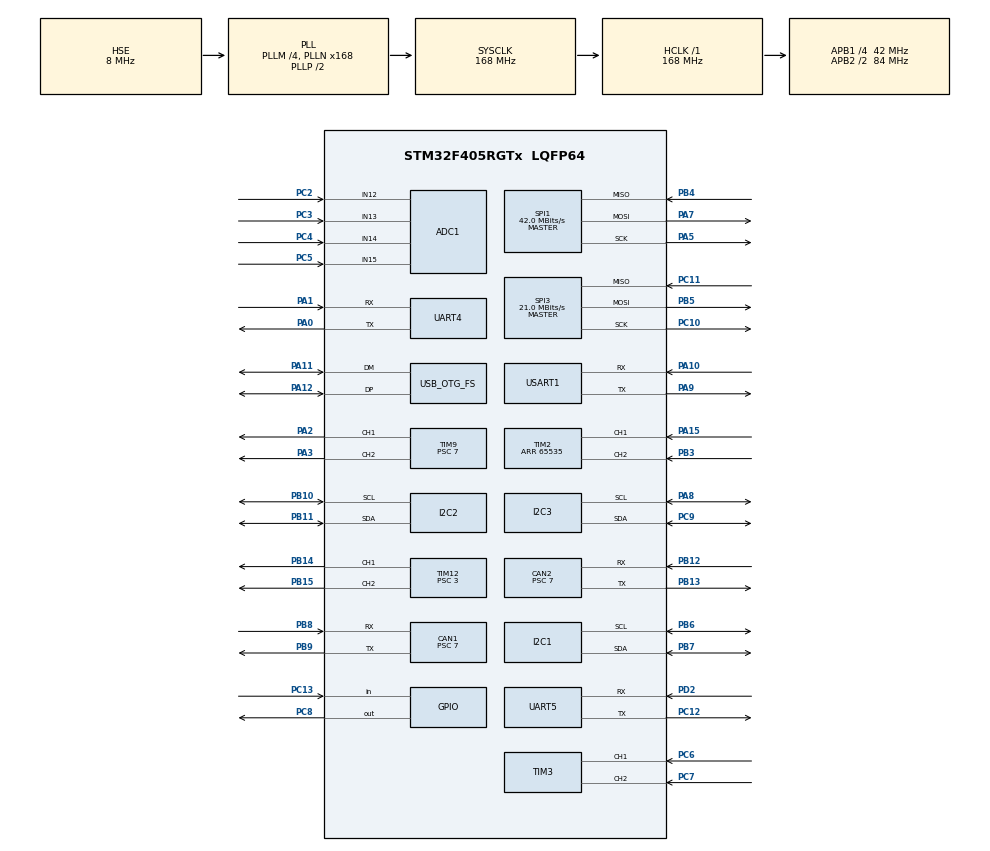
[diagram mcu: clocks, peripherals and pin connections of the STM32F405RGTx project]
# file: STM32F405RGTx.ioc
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ADC1.Channel-0\#ChannelRegularConversion=ADC_CHANNEL_12
ADC1.Channel-5\#ChannelRegularConversion=ADC_CHANNEL_13
ADC1.Channel-6\#ChannelRegularConversion=ADC_CHANNEL_14
ADC1.Channel-7\#ChannelRegularConversion=ADC_CHANNEL_15
ADC1.Channel-8\#ChannelRegularConversion=ADC_CHANNEL_TEMPSENSOR
ADC1.Channel-9\#ChannelRegularConversion=ADC_CHANNEL_VREFINT
ADC1.ContinuousConvMode=ENABLE
ADC1.InjNumberOfConversion=0
ADC1.NbrOfConversion=6
ADC1.NbrOfConversionFlag=1
ADC1.Rank-0\#ChannelRegularConversion=1
ADC1.Rank-5\#ChannelRegularConversion=2
ADC1.Rank-6\#ChannelRegularConversion=3
ADC1.Rank-7\#ChannelRegularConversion=4
ADC1.Rank-8\#ChannelRegularConversion=5
ADC1.Rank-9\#ChannelRegularConversion=6
ADC1.SamplingTime-0\#ChannelRegularConversion=ADC_SAMPLETIME_28CYCLES
ADC1.SamplingTime-5\#ChannelRegularConversion=ADC_SAMPLETIME_3CYCLES
ADC1.SamplingTime-6\#ChannelRegularConversion=ADC_SAMPLETIME_3CYCLES
ADC1.SamplingTime-7\#ChannelRegularConversion=ADC_SAMPLETIME_3CYCLES
ADC1.SamplingTime-8\#ChannelRegularConversion=ADC_SAMPLETIME_3CYCLES
ADC1.SamplingTime-9\#ChannelRegularConversion=ADC_SAMPLETIME_3CYCLES
ADC1.ScanConvMode=ENABLE
ADC1.master=1
CAN1.AWUM=ENABLE
CAN1.BS1=CAN_BS1_3TQ
CAN1.BS2=CAN_BS2_2TQ
CAN1.CalculateBaudRate=999999
CAN1.CalculateTimeBit=1000
CAN1.CalculateTimeQuantum=166.66666666666669
CAN1.Prescaler=7
CAN1.TXFP=ENABLE
CAN2.AWUM=ENABLE
CAN2.BS1=CAN_BS1_3TQ
CAN2.BS2=CAN_BS2_2TQ
CAN2.CalculateBaudRate=999999
CAN2.CalculateTimeBit=1000
CAN2.CalculateTimeQuantum=166.66666666666669
CAN2.Prescaler=7
CAN2.TXFP=DISABLE
Dma.ADC1.0.Direction=DMA_PERIPH_TO_MEMORY
Dma.ADC1.0.FIFOMode=DMA_FIFOMODE_DISABLE
Dma.ADC1.0.Instance=DMA2_Stream0
Dma.ADC1.0.MemDataAlignment=DMA_MDATAALIGN_HALFWORD
Dma.ADC1.0.MemInc=DMA_MINC_ENABLE
Dma.ADC1.0.Mode=DMA_CIRCULAR
Dma.ADC1.0.PeriphDataAlignment=DMA_PDATAALIGN_HALFWORD
Dma.ADC1.0.PeriphInc=DMA_PINC_DISABLE
Dma.ADC1.0.Priority=DMA_PRIORITY_LOW
Dma.Request0=ADC1
Dma.Request1=UART4_RX
Dma.Request2=UART4_TX
Dma.Request3=UART5_RX
Dma.Request4=UART5_TX
Dma.UART4_RX.1.Direction=DMA_PERIPH_TO_MEMORY
Dma.UART4_RX.1.FIFOMode=DMA_FIFOMODE_DISABLE
Dma.UART4_RX.1.Instance=DMA1_Stream2
Dma.UART4_RX.1.MemDataAlignment=DMA_MDATAALIGN_BYTE
Dma.UART4_RX.1.MemInc=DMA_MINC_ENABLE
Dma.UART4_RX.1.Mode=DMA_CIRCULAR
Dma.UART4_RX.1.PeriphDataAlignment=DMA_PDATAALIGN_BYTE
Dma.UART4_RX.1.PeriphInc=DMA_PINC_DISABLE
Dma.UART4_RX.1.Priority=DMA_PRIORITY_LOW
Dma.UART4_TX.2.Direction=DMA_MEMORY_TO_PERIPH
Dma.UART4_TX.2.FIFOMode=DMA_FIFOMODE_DISABLE
Dma.UART4_TX.2.Instance=DMA1_Stream4
Dma.UART4_TX.2.MemDataAlignment=DMA_MDATAALIGN_BYTE
Dma.UART4_TX.2.MemInc=DMA_MINC_ENABLE
Dma.UART4_TX.2.Mode=DMA_NORMAL
Dma.UART4_TX.2.PeriphDataAlignment=DMA_PDATAALIGN_BYTE
Dma.UART4_TX.2.PeriphInc=DMA_PINC_DISABLE
Dma.UART4_TX.2.Priority=DMA_PRIORITY_LOW
Dma.UART5_RX.3.Direction=DMA_PERIPH_TO_MEMORY
Dma.UART5_RX.3.FIFOMode=DMA_FIFOMODE_DISABLE
Dma.UART5_RX.3.Instance=DMA1_Stream0
Dma.UART5_RX.3.MemDataAlignment=DMA_MDATAALIGN_BYTE
Dma.UART5_RX.3.MemInc=DMA_MINC_ENABLE
Dma.UART5_RX.3.Mode=DMA_CIRCULAR
Dma.UART5_RX.3.PeriphDataAlignment=DMA_PDATAALIGN_BYTE
Dma.UART5_RX.3.PeriphInc=DMA_PINC_DISABLE
Dma.UART5_RX.3.Priority=DMA_PRIORITY_LOW
Dma.UART5_TX.4.Direction=DMA_MEMORY_TO_PERIPH
Dma.UART5_TX.4.FIFOMode=DMA_FIFOMODE_DISABLE
Dma.UART5_TX.4.Instance=DMA1_Stream7
Dma.UART5_TX.4.MemDataAlignment=DMA_MDATAALIGN_BYTE
Dma.UART5_TX.4.MemInc=DMA_MINC_ENABLE
Dma.UART5_TX.4.Mode=DMA_NORMAL
Dma.UART5_TX.4.PeriphDataAlignment=DMA_PDATAALIGN_BYTE
Dma.UART5_TX.4.PeriphInc=DMA_PINC_DISABLE
Dma.UART5_TX.4.Priority=DMA_PRIORITY_LOW
FREERTOS.BinarySemaphores01=myBinarySem01,Dynamic,NULL
FREERTOS.CountingSemaphores01=myCountingSem01,2,Dynamic,NULL
FREERTOS.Tasks01=defaultTask,24,128,StartDefaultTask,Default,NULL,Dynamic,NULL,NULL
FREERTOS.configUSE_NEWLIB_REENTRANT=1
FREERTOS.configUSE_PREEMPTION=1
I2C1.I2C_Mode=I2C_Fast
I2C2.I2C_Mode=I2C_Fast
I2C3.I2C_Mode=I2C_Fast
Mcu.Family=STM32F4
Mcu.Name=STM32F405RGTx
Mcu.Package=LQFP64
NVIC.ADC_IRQn=true\:5\:0\:false\:false\:true\:true\:true\:true\:true
NVIC.CAN1_RX0_IRQn=true\:5\:0\:false\:false\:true\:true\:true\:true\:true
NVIC.CAN1_RX1_IRQn=true\:5\:0\:false\:false\:true\:true\:true\:true\:true
NVIC.CAN1_SCE_IRQn=true\:5\:0\:false\:false\:true\:true\:true\:true\:true
NVIC.CAN1_TX_IRQn=true\:5\:0\:false\:false\:true\:true\:true\:true\:true
NVIC.CAN2_RX0_IRQn=true\:5\:0\:false\:false\:true\:true\:true\:true\:true
NVIC.CAN2_RX1_IRQn=true\:5\:0\:false\:false\:true\:true\:true\:true\:true
NVIC.CAN2_SCE_IRQn=true\:5\:0\:false\:false\:true\:true\:true\:true\:true
NVIC.CAN2_TX_IRQn=true\:5\:0\:false\:false\:true\:true\:true\:true\:true
NVIC.DMA1_Stream0_IRQn=true\:6\:0\:true\:false\:true\:true\:false\:true\:true
NVIC.DMA1_Stream2_IRQn=true\:6\:0\:true\:false\:true\:true\:false\:true\:true
NVIC.DMA1_Stream4_IRQn=true\:6\:0\:true\:false\:true\:true\:false\:true\:true
NVIC.DMA1_Stream7_IRQn=true\:6\:0\:true\:false\:true\:true\:false\:true\:true
NVIC.DMA2_Stream0_IRQn=true\:5\:0\:false\:false\:true\:true\:false\:true\:true
NVIC.OTG_FS_IRQn=true\:5\:0\:false\:false\:true\:true\:false\:true\:true
NVIC.PriorityGroup=NVIC_PRIORITYGROUP_4
NVIC.SPI3_IRQn=true\:5\:0\:false\:false\:true\:true\:true\:true\:true
NVIC.TIM1_TRG_COM_TIM11_IRQn=true\:5\:0\:false\:false\:true\:true\:true\:true\:true
NVIC.TIM1_UP_TIM10_IRQn=true\:5\:0\:false\:false\:true\:true\:true\:true\:true
NVIC.TIM6_DAC_IRQn=true\:15\:0\:false\:false\:true\:false\:false\:true\:true
NVIC.TIM7_IRQn=true\:5\:0\:false\:false\:true\:true\:true\:true\:true
NVIC.TIM8_TRG_COM_TIM14_IRQn=true\:5\:0\:false\:false\:true\:true\:true\:true\:true
NVIC.TIM8_UP_TIM13_IRQn=true\:5\:0\:false\:false\:true\:true\:true\:true\:true
NVIC.TimeBase=TIM6_DAC_IRQn
NVIC.TimeBaseIP=TIM6
NVIC.UART4_IRQn=true\:5\:0\:false\:false\:true\:true\:true\:true\:true
NVIC.UART5_IRQn=true\:5\:0\:false\:false\:true\:true\:true\:true\:true
PA0-WKUP.Mode=Asynchronous
PA0-WKUP.Signal=UART4_TX
PA1.Mode=Asynchronous
PA1.Signal=UART4_RX
PA10.Mode=Asynchronous
PA10.Signal=USART1_RX
PA11.Mode=Device_Only
PA11.Signal=USB_OTG_FS_DM
PA12.Mode=Device_Only
PA12.Signal=USB_OTG_FS_DP
PA15.Signal=S_TIM2_CH1_ETR
PA2.Signal=S_TIM9_CH1
PA3.Signal=S_TIM9_CH2
PA5.Mode=Full_Duplex_Master
PA5.Signal=SPI1_SCK
PA7.Mode=Full_Duplex_Master
PA7.Signal=SPI1_MOSI
PA8.Mode=I2C
PA8.Signal=I2C3_SCL
PA9.Mode=Asynchronous
PA9.Signal=USART1_TX
PB10.Mode=I2C
PB10.Signal=I2C2_SCL
PB11.Mode=I2C
PB11.Signal=I2C2_SDA
PB12.Mode=CAN_Activate
PB12.Signal=CAN2_RX
PB13.Mode=CAN_Activate
PB13.Signal=CAN2_TX
PB14.Signal=S_TIM12_CH1
PB15.Signal=S_TIM12_CH2
PB3.Signal=S_TIM2_CH2
PB4.Mode=Full_Duplex_Master
PB4.Signal=SPI1_MISO
PB5.Mode=Full_Duplex_Master
PB5.Signal=SPI3_MOSI
PB6.Mode=I2C
PB6.Signal=I2C1_SCL
PB7.Mode=I2C
PB7.Signal=I2C1_SDA
PB8.Mode=CAN_Activate
PB8.Signal=CAN1_RX
PB9.Mode=CAN_Activate
PB9.Signal=CAN1_TX
PC10.Mode=Full_Duplex_Master
PC10.Signal=SPI3_SCK
PC11.Mode=Full_Duplex_Master
PC11.Signal=SPI3_MISO
PC12.Mode=Asynchronous
PC12.Signal=UART5_TX
PC13-ANTI_TAMP.Signal=GPIO_Input
PC2.Signal=ADCx_IN12
PC3.Signal=ADCx_IN13
PC4.Signal=ADCx_IN14
PC5.Signal=ADCx_IN15
PC6.Signal=S_TIM3_CH1
PC7.Signal=S_TIM3_CH2
PC8.GPIO_Speed=GPIO_SPEED_FREQ_HIGH
PC8.Signal=GPIO_Output
PC9.Mode=I2C
PC9.Signal=I2C3_SDA
PD2.Mode=Asynchronous
PD2.Signal=UART5_RX
PH0-OSC_IN.Mode=HSE-External-Oscillator
PH0-OSC_IN.Signal=RCC_OSC_IN
PH1-OSC_OUT.Mode=HSE-External-Oscillator
PH1-OSC_OUT.Signal=RCC_OSC_OUT
ProjectManager.HeapSize=0x200
ProjectManager.StackSize=0x400
ProjectManager.TargetToolchain=STM32CubeIDE
RCC.48MHZClocksFreq_Value=48000000
RCC.AHBFreq_Value=168000000
RCC.APB1CLKDivider=RCC_HCLK_DIV4
RCC.APB1Freq_Value=42000000
RCC.APB1TimFreq_Value=84000000
RCC.APB2CLKDivider=RCC_HCLK_DIV2
RCC.APB2Freq_Value=84000000
RCC.APB2TimFreq_Value=168000000
RCC.CortexFreq_Value=168000000
RCC.HCLKFreq_Value=168000000
RCC.HSE_VALUE=8000000
RCC.HSI_VALUE=16000000
RCC.LSE_VALUE=32768
RCC.PLLM=4
RCC.PLLN=168
RCC.PLLQ=7
RCC.SYSCLKFreq_VALUE=168000000
RCC.SYSCLKSource=RCC_SYSCLKSOURCE_PLLCLK
RCC.VCOOutputFreq_Value=336000000
SH.ADCx_IN12.0=ADC1_IN12,IN12
SH.ADCx_IN13.0=ADC1_IN13,IN13
SH.ADCx_IN14.0=ADC1_IN14,IN14
SH.ADCx_IN15.0=ADC1_IN15,IN15
SH.S_TIM12_CH1.0=TIM12_CH1,PWM Generation1 CH1
SH.S_TIM12_CH2.0=TIM12_CH2,PWM Generation2 CH2
SH.S_TIM2_CH1_ETR.0=TIM2_CH1,Encoder_Interface
SH.S_TIM2_CH2.0=TIM2_CH2,Encoder_Interface
SH.S_TIM3_CH1.0=TIM3_CH1,Encoder_Interface
SH.S_TIM3_CH2.0=TIM3_CH2,Encoder_Interface
SH.S_TIM9_CH1.0=TIM9_CH1,PWM Generation1 CH1
SH.S_TIM9_CH2.0=TIM9_CH2,PWM Generation2 CH2
SPI1.CalculateBaudRate=42.0 MBits/s
SPI1.Direction=SPI_DIRECTION_2LINES
SPI1.Mode=SPI_MODE_MASTER
SPI1.VirtualType=VM_MASTER
SPI3.CalculateBaudRate=21.0 MBits/s
SPI3.Direction=SPI_DIRECTION_2LINES
SPI3.Mode=SPI_MODE_MASTER
SPI3.VirtualType=VM_MASTER
TIM10.AutoReloadPreload=TIM_AUTORELOAD_PRELOAD_ENABLE
TIM10.Period=9999
TIM10.Prescaler=167
TIM11.Period=9999
TIM11.Prescaler=167
TIM12.Channel-PWM\ Generation1\ CH1=TIM_CHANNEL_1
TIM12.Channel-PWM\ Generation2\ CH2=TIM_CHANNEL_2
TIM12.Period=999
TIM12.Prescaler=3
TIM13.Period=9999
TIM13.Prescaler=83
TIM14.Period=9999
TIM14.Prescaler=83
TIM2.EncoderMode=TIM_ENCODERMODE_TI2
TIM2.IC1Filter=4
TIM2.IC2Filter=4
TIM2.Period=65535
TIM3.EncoderMode=TIM_ENCODERMODE_TI2
TIM3.IC1Filter=4
TIM3.IC2Filter=4
TIM7.AutoReloadPreload=TIM_AUTORELOAD_PRELOAD_ENABLE
TIM7.Period=9999
TIM7.Prescaler=83
TIM9.Channel-PWM\ Generation1\ CH1=TIM_CHANNEL_1
TIM9.Channel-PWM\ Generation2\ CH2=TIM_CHANNEL_2
TIM9.Period=999
TIM9.Prescaler=7
UART4.VirtualMode=Asynchronous
UART5.VirtualMode=Asynchronous
USART1.VirtualMode=VM_ASYNC
USB_DEVICE.CLASS_NAME_FS=CDC
USB_DEVICE.VirtualMode-CDC_FS=Cdc
USB_DEVICE.VirtualModeFS=Cdc_FS
USB_OTG_FS.VirtualMode=Device_Only
VP_ADC1_TempSens_Input.Mode=IN-TempSens
VP_ADC1_Vref_Input.Mode=IN-Vrefint
VP_FREERTOS_VS_CMSIS_V2.Mode=CMSIS_V2
VP_SYS_VS_tim6.Mode=TIM6
VP_TIM10_VS_ClockSourceINT.Mode=Enable_Timer
VP_TIM11_VS_ClockSourceINT.Mode=Enable_Timer
VP_TIM13_VS_ClockSourceINT.Mode=Enable_Timer
VP_TIM14_VS_ClockSourceINT.Mode=Enable_Timer
VP_TIM7_VS_ClockSourceINT.Mode=Enable_Timer
VP_USB_DEVICE_VS_USB_DEVICE_CDC_FS.Mode=CDC_FS
board=custom

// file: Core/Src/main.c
/* USER CODE BEGIN Header */
/**
  ******************************************************************************
  * @file           : main.c
  * @brief          : Main program body
  ******************************************************************************
  * @attention
  *
  * Copyright (c) 2024 STMicroelectronics.
  * All rights reserved.
  *
  * This software is licensed under terms that can be found in the LICENSE file
  * in the root directory of this software component.
  * If no LICENSE file comes with this software, it is provided AS-IS.
  *
  ******************************************************************************
  */
/* USER CODE END Header */
#include "main.h"
#include "cmsis_os.h"
#include "usb_device.h"

/* USER CODE BEGIN Includes */
#include "common_inc.h"
#include "communication/communication.hpp"
/* USER CODE END Includes */

/* USER CODE BEGIN PD */
// List of semaphores
osSemaphoreId sem_usb_irq;
osSemaphoreId sem_uart4_dma;
osSemaphoreId sem_uart5_dma;
osSemaphoreId sem_usb_rx;
osSemaphoreId sem_usb_tx;
osSemaphoreId sem_can1_tx;
osSemaphoreId sem_can2_tx;
/* USER CODE END PD */

 ADC_HandleTypeDef hadc1;
DMA_HandleTypeDef hdma_adc1;

CAN_HandleTypeDef hcan1;
CAN_HandleTypeDef hcan2;

I2C_HandleTypeDef hi2c1;
I2C_HandleTypeDef hi2c2;
I2C_HandleTypeDef hi2c3;

SPI_HandleTypeDef hspi1;
SPI_HandleTypeDef hspi3;

TIM_HandleTypeDef htim2;
TIM_HandleTypeDef htim3;
TIM_HandleTypeDef htim7;
TIM_HandleTypeDef htim9;
TIM_HandleTypeDef htim10;
TIM_HandleTypeDef htim11;
TIM_HandleTypeDef htim12;
TIM_HandleTypeDef htim13;
TIM_HandleTypeDef htim14;

UART_HandleTypeDef huart4;
UART_HandleTypeDef huart5;
UART_HandleTypeDef huart1;
DMA_HandleTypeDef hdma_uart4_rx;
DMA_HandleTypeDef hdma_uart4_tx;
DMA_HandleTypeDef hdma_uart5_rx;
DMA_HandleTypeDef hdma_uart5_tx;

/* Definitions for defaultTask */
osThreadId_t defaultTaskHandle;
const osThreadAttr_t defaultTask_attributes = {
  .name = "defaultTask",
  .stack_size = 128 * 4,
  .priority = (osPriority_t) osPriorityNormal,
};
/* Definitions for myBinarySem01 */
osSemaphoreId_t myBinarySem01Handle;
const osSemaphoreAttr_t myBinarySem01_attributes = {
  .name = "myBinarySem01"
};
/* Definitions for myCountingSem01 */
osSemaphoreId_t myCountingSem01Handle;
const osSemaphoreAttr_t myCountingSem01_attributes = {
  .name = "myCountingSem01"
};
/* USER CODE BEGIN PV */
uint64_t serialNumber;
char serialNumberStr[13];
__attribute__((section(".ccmram"))) uint8_t ucHeap[configTOTAL_HEAP_SIZE];
/* USER CODE END PV */

void SystemClock_Config(void);
static void MX_GPIO_Init(void);
static void MX_CAN1_Init(void);
static void MX_CAN2_Init(void);
static void MX_I2C1_Init(void);
static void MX_DMA_Init(void);
static void MX_I2C3_Init(void);
static void MX_ADC1_Init(void);
static void MX_SPI1_Init(void);
static void MX_SPI3_Init(void);
static void MX_I2C2_Init(void);
static void MX_UART4_Init(void);
static void MX_UART5_Init(void);
static void MX_USART1_UART_Init(void);
static void MX_TIM2_Init(void);
static void MX_TIM3_Init(void);
static void MX_TIM7_Init(void);
static void MX_TIM9_Init(void);
static void MX_TIM10_Init(void);
static void MX_TIM11_Init(void);
static void MX_TIM12_Init(void);
static void MX_TIM13_Init(void);
static void MX_TIM14_Init(void);
void StartDefaultTask(void *argument);

/* USER CODE BEGIN PFP */
extern void MX_USB_DEVICE_Init(void);
/* USER CODE END PFP */

int main(void)
{
  /* USER CODE BEGIN 1 */
  // This procedure of building a USB serial number should be identical
  // to the way the STM's built-in USB bootloader does it. This means
  // that the device will have the same serial number in normal and DFU mode.
  uint32_t uuid0 = *(uint32_t *) (UID_BASE + 0);
  uint32_t uuid1 = *(uint32_t *) (UID_BASE + 4);
  uint32_t uuid2 = *(uint32_t *) (UID_BASE + 8);
  uint32_t uuid_mixed_part = uuid0 + uuid2;
  serialNumber = ((uint64_t) uuid_mixed_part << 16) | (uint64_t) (uuid1 >> 16);

  uint64_t val = serialNumber;
  for (size_t i = 0; i < 12; ++i)
  {
      serialNumberStr[i] = "0123456789ABCDEF"[(val >> (48 - 4)) & 0xf];
      val <<= 4;
  }
  serialNumberStr[12] = 0;
  /* USER CODE END 1 */

  /* MCU Configuration--------------------------------------------------------*/

  /* Reset of all peripherals, Initializes the Flash interface and the Systick. */
  HAL_Init();

  /* Configure the system clock */
  SystemClock_Config();

  /* Initialize all configured peripherals */
  MX_GPIO_Init();
  MX_CAN1_Init();
  MX_CAN2_Init();
  MX_I2C1_Init();
  MX_DMA_Init();
  MX_I2C3_Init();
  MX_ADC1_Init();
  MX_SPI1_Init();
  MX_SPI3_Init();
  MX_I2C2_Init();
  MX_UART4_Init();
  MX_UART5_Init();
  MX_USART1_UART_Init();
  MX_TIM2_Init();
  MX_TIM3_Init();
  MX_TIM7_Init();
  MX_TIM9_Init();
  MX_TIM10_Init();
  MX_TIM11_Init();
  MX_TIM12_Init();
  MX_TIM13_Init();
  MX_TIM14_Init();

  /* Init scheduler */
  osKernelInitialize();

  /* Create the semaphores(s) */
  /* creation of myBinarySem01 */
  myBinarySem01Handle = osSemaphoreNew(1, 1, &myBinarySem01_attributes);

  /* creation of myCountingSem01 */
  myCountingSem01Handle = osSemaphoreNew(2, 2, &myCountingSem01_attributes);

  /* USER CODE BEGIN RTOS_SEMAPHORES */
  // Init usb irq binary semaphore, and start with no tokens by removing the starting one.
  osSemaphoreDef(sem_usb_irq);
  sem_usb_irq = osSemaphoreNew(1, 0, osSemaphore(sem_usb_irq));

  // Create a semaphore for UART DMA and remove a token
  osSemaphoreDef(sem_uart4_dma);
  sem_uart4_dma = osSemaphoreNew(1, 1, osSemaphore(sem_uart4_dma));
  osSemaphoreDef(sem_uart5_dma);
  sem_uart5_dma = osSemaphoreNew(1, 1, osSemaphore(sem_uart5_dma));

  // Create a semaphore for USB RX, and start with no tokens by removing the starting one.
  osSemaphoreDef(sem_usb_rx);
  sem_usb_rx = osSemaphoreNew(1, 0, osSemaphore(sem_usb_rx));

  // Create a semaphore for USB TX
  osSemaphoreDef(sem_usb_tx);
  sem_usb_tx = osSemaphoreNew(1, 1, osSemaphore(sem_usb_tx));

  // Create a semaphore for CAN TX
  osSemaphoreDef(sem_can1_tx);
  sem_can1_tx = osSemaphoreNew(1, 1, osSemaphore(sem_can1_tx));
  osSemaphoreDef(sem_can2_tx);
  sem_can2_tx = osSemaphoreNew(1, 1, osSemaphore(sem_can2_tx));
  /* USER CODE END RTOS_SEMAPHORES */

  /* Create the thread(s) */
  /* creation of defaultTask */
  defaultTaskHandle = osThreadNew(StartDefaultTask, NULL, &defaultTask_attributes);

  /* Start scheduler */
  osKernelStart();

  /* We should never get here as control is now taken by the scheduler */
  /* Infinite loop */
  while (1)
  {

  }
}

void SystemClock_Config(void)
{
  RCC_OscInitTypeDef RCC_OscInitStruct = {0};
  RCC_ClkInitTypeDef RCC_ClkInitStruct = {0};

  /** Configure the main internal regulator output voltage
  */
  __HAL_RCC_PWR_CLK_ENABLE();
  __HAL_PWR_VOLTAGESCALING_CONFIG(PWR_REGULATOR_VOLTAGE_SCALE1);

  /** Initializes the RCC Oscillators according to the specified parameters
  * in the RCC_OscInitTypeDef structure.
  */
  RCC_OscInitStruct.OscillatorType = RCC_OSCILLATORTYPE_HSE;
  RCC_OscInitStruct.HSEState = RCC_HSE_ON;
  RCC_OscInitStruct.PLL.PLLState = RCC_PLL_ON;
  RCC_OscInitStruct.PLL.PLLSource = RCC_PLLSOURCE_HSE;
  RCC_OscInitStruct.PLL.PLLM = 4;
  RCC_OscInitStruct.PLL.PLLN = 168;
  RCC_OscInitStruct.PLL.PLLP = RCC_PLLP_DIV2;
  RCC_OscInitStruct.PLL.PLLQ = 7;
  if (HAL_RCC_OscConfig(&RCC_OscInitStruct) != HAL_OK)
  {
    Error_Handler();
  }

  /** Initializes the CPU, AHB and APB buses clocks
  */
  RCC_ClkInitStruct.ClockType = RCC_CLOCKTYPE_HCLK|RCC_CLOCKTYPE_SYSCLK
                              |RCC_CLOCKTYPE_PCLK1|RCC_CLOCKTYPE_PCLK2;
  RCC_ClkInitStruct.SYSCLKSource = RCC_SYSCLKSOURCE_PLLCLK;
  RCC_ClkInitStruct.AHBCLKDivider = RCC_SYSCLK_DIV1;
  RCC_ClkInitStruct.APB1CLKDivider = RCC_HCLK_DIV4;
  RCC_ClkInitStruct.APB2CLKDivider = RCC_HCLK_DIV2;

  if (HAL_RCC_ClockConfig(&RCC_ClkInitStruct, FLASH_LATENCY_5) != HAL_OK)
  {
    Error_Handler();
  }
}

static void MX_ADC1_Init(void)
{

  ADC_ChannelConfTypeDef sConfig = {0};

  /** Configure the global features of the ADC (Clock, Resolution, Data Alignment and number of conversion)
  */
  hadc1.Instance = ADC1;
  hadc1.Init.ClockPrescaler = ADC_CLOCK_SYNC_PCLK_DIV4;
  hadc1.Init.Resolution = ADC_RESOLUTION_12B;
  hadc1.Init.ScanConvMode = ENABLE;
  hadc1.Init.ContinuousConvMode = ENABLE;
  hadc1.Init.DiscontinuousConvMode = DISABLE;
  hadc1.Init.ExternalTrigConvEdge = ADC_EXTERNALTRIGCONVEDGE_NONE;
  hadc1.Init.ExternalTrigConv = ADC_SOFTWARE_START;
  hadc1.Init.DataAlign = ADC_DATAALIGN_RIGHT;
  hadc1.Init.NbrOfConversion = 6;
  hadc1.Init.DMAContinuousRequests = DISABLE;
  hadc1.Init.EOCSelection = ADC_EOC_SINGLE_CONV;
  if (HAL_ADC_Init(&hadc1) != HAL_OK)
  {
    Error_Handler();
  }

  /** Configure for the selected ADC regular channel its corresponding rank in the sequencer and its sample time.
  */
  sConfig.Channel = ADC_CHANNEL_12;
  sConfig.Rank = 1;
  sConfig.SamplingTime = ADC_SAMPLETIME_28CYCLES;
  if (HAL_ADC_ConfigChannel(&hadc1, &sConfig) != HAL_OK)
  {
    Error_Handler();
  }

  /** Configure for the selected ADC regular channel its corresponding rank in the sequencer and its sample time.
  */
  sConfig.Channel = ADC_CHANNEL_13;
  sConfig.Rank = 2;
  sConfig.SamplingTime = ADC_SAMPLETIME_3CYCLES;
  if (HAL_ADC_ConfigChannel(&hadc1, &sConfig) != HAL_OK)
  {
    Error_Handler();
  }

  /** Configure for the selected ADC regular channel its corresponding rank in the sequencer and its sample time.
  */
  sConfig.Channel = ADC_CHANNEL_14;
  sConfig.Rank = 3;
  if (HAL_ADC_ConfigChannel(&hadc1, &sConfig) != HAL_OK)
  {
    Error_Handler();
  }

  /** Configure for the selected ADC regular channel its corresponding rank in the sequencer and its sample time.
  */
  sConfig.Channel = ADC_CHANNEL_15;
  sConfig.Rank = 4;
  if (HAL_ADC_ConfigChannel(&hadc1, &sConfig) != HAL_OK)
  {
    Error_Handler();
  }

  /** Configure for the selected ADC regular channel its corresponding rank in the sequencer and its sample time.
  */
  sConfig.Channel = ADC_CHANNEL_TEMPSENSOR;
  sConfig.Rank = 5;
  if (HAL_ADC_ConfigChannel(&hadc1, &sConfig) != HAL_OK)
  {
    Error_Handler();
  }

  /** Configure for the selected ADC regular channel its corresponding rank in the sequencer and its sample time.
  */
  sConfig.Channel = ADC_CHANNEL_VREFINT;
  sConfig.Rank = 6;
  if (HAL_ADC_ConfigChannel(&hadc1, &sConfig) != HAL_OK)
  {
    Error_Handler();
  }

}

static void MX_CAN1_Init(void)
{

  hcan1.Instance = CAN1;
  hcan1.Init.Prescaler = 7;
  hcan1.Init.Mode = CAN_MODE_NORMAL;
  hcan1.Init.SyncJumpWidth = CAN_SJW_1TQ;
  hcan1.Init.TimeSeg1 = CAN_BS1_3TQ;
  hcan1.Init.TimeSeg2 = CAN_BS2_2TQ;
  hcan1.Init.TimeTriggeredMode = DISABLE;
  hcan1.Init.AutoBusOff = DISABLE;
  hcan1.Init.AutoWakeUp = ENABLE;
  hcan1.Init.AutoRetransmission = DISABLE;
  hcan1.Init.ReceiveFifoLocked = DISABLE;
  hcan1.Init.TransmitFifoPriority = ENABLE;
  if (HAL_CAN_Init(&hcan1) != HAL_OK)
  {
    Error_Handler();
  }

}

static void MX_CAN2_Init(void)
{

  hcan2.Instance = CAN2;
  hcan2.Init.Prescaler = 7;
  hcan2.Init.Mode = CAN_MODE_NORMAL;
  hcan2.Init.SyncJumpWidth = CAN_SJW_1TQ;
  hcan2.Init.TimeSeg1 = CAN_BS1_3TQ;
  hcan2.Init.TimeSeg2 = CAN_BS2_2TQ;
  hcan2.Init.TimeTriggeredMode = DISABLE;
  hcan2.Init.AutoBusOff = DISABLE;
  hcan2.Init.AutoWakeUp = ENABLE;
  hcan2.Init.AutoRetransmission = DISABLE;
  hcan2.Init.ReceiveFifoLocked = DISABLE;
  hcan2.Init.TransmitFifoPriority = DISABLE;
  if (HAL_CAN_Init(&hcan2) != HAL_OK)
  {
    Error_Handler();
  }

}

static void MX_I2C1_Init(void)
{

  hi2c1.Instance = I2C1;
  hi2c1.Init.ClockSpeed = 400000;
  hi2c1.Init.DutyCycle = I2C_DUTYCYCLE_2;
  hi2c1.Init.OwnAddress1 = 0;
  hi2c1.Init.AddressingMode = I2C_ADDRESSINGMODE_7BIT;
  hi2c1.Init.DualAddressMode = I2C_DUALADDRESS_DISABLE;
  hi2c1.Init.OwnAddress2 = 0;
  hi2c1.Init.GeneralCallMode = I2C_GENERALCALL_DISABLE;
  hi2c1.Init.NoStretchMode = I2C_NOSTRETCH_DISABLE;
  if (HAL_I2C_Init(&hi2c1) != HAL_OK)
  {
    Error_Handler();
  }

}

static void MX_I2C2_Init(void)
{

  hi2c2.Instance = I2C2;
  hi2c2.Init.ClockSpeed = 400000;
  hi2c2.Init.DutyCycle = I2C_DUTYCYCLE_2;
  hi2c2.Init.OwnAddress1 = 0;
  hi2c2.Init.AddressingMode = I2C_ADDRESSINGMODE_7BIT;
  hi2c2.Init.DualAddressMode = I2C_DUALADDRESS_DISABLE;
  hi2c2.Init.OwnAddress2 = 0;
  hi2c2.Init.GeneralCallMode = I2C_GENERALCALL_DISABLE;
  hi2c2.Init.NoStretchMode = I2C_NOSTRETCH_DISABLE;
  if (HAL_I2C_Init(&hi2c2) != HAL_OK)
  {
    Error_Handler();
  }

}

static void MX_I2C3_Init(void)
{

  hi2c3.Instance = I2C3;
  hi2c3.Init.ClockSpeed = 400000;
  hi2c3.Init.DutyCycle = I2C_DUTYCYCLE_2;
  hi2c3.Init.OwnAddress1 = 0;
  hi2c3.Init.AddressingMode = I2C_ADDRESSINGMODE_7BIT;
  hi2c3.Init.DualAddressMode = I2C_DUALADDRESS_DISABLE;
  hi2c3.Init.OwnAddress2 = 0;
  hi2c3.Init.GeneralCallMode = I2C_GENERALCALL_DISABLE;
  hi2c3.Init.NoStretchMode = I2C_NOSTRETCH_DISABLE;
  if (HAL_I2C_Init(&hi2c3) != HAL_OK)
  {
    Error_Handler();
  }

}

static void MX_SPI1_Init(void)
{

  /* SPI1 parameter configuration*/
  hspi1.Instance = SPI1;
  hspi1.Init.Mode = SPI_MODE_MASTER;
  hspi1.Init.Direction = SPI_DIRECTION_2LINES;
  hspi1.Init.DataSize = SPI_DATASIZE_8BIT;
  hspi1.Init.CLKPolarity = SPI_POLARITY_LOW;
  hspi1.Init.CLKPhase = SPI_PHASE_1EDGE;
  hspi1.Init.NSS = SPI_NSS_SOFT;
  hspi1.Init.BaudRatePrescaler = SPI_BAUDRATEPRESCALER_2;
  hspi1.Init.FirstBit = SPI_FIRSTBIT_MSB;
  hspi1.Init.TIMode = SPI_TIMODE_DISABLE;
  hspi1.Init.CRCCalculation = SPI_CRCCALCULATION_DISABLE;
  hspi1.Init.CRCPolynomial = 10;
  if (HAL_SPI_Init(&hspi1) != HAL_OK)
  {
    Error_Handler();
  }

}

static void MX_SPI3_Init(void)
{

  /* SPI3 parameter configuration*/
  hspi3.Instance = SPI3;
  hspi3.Init.Mode = SPI_MODE_MASTER;
  hspi3.Init.Direction = SPI_DIRECTION_2LINES;
  hspi3.Init.DataSize = SPI_DATASIZE_8BIT;
  hspi3.Init.CLKPolarity = SPI_POLARITY_LOW;
  hspi3.Init.CLKPhase = SPI_PHASE_1EDGE;
  hspi3.Init.NSS = SPI_NSS_SOFT;
  hspi3.Init.BaudRatePrescaler = SPI_BAUDRATEPRESCALER_2;
  hspi3.Init.FirstBit = SPI_FIRSTBIT_MSB;
  hspi3.Init.TIMode = SPI_TIMODE_DISABLE;
  hspi3.Init.CRCCalculation = SPI_CRCCALCULATION_DISABLE;
  hspi3.Init.CRCPolynomial = 10;
  if (HAL_SPI_Init(&hspi3) != HAL_OK)
  {
    Error_Handler();
  }

}

static void MX_TIM2_Init(void)
{

  TIM_Encoder_InitTypeDef sConfig = {0};
  TIM_MasterConfigTypeDef sMasterConfig = {0};

  htim2.Instance = TIM2;
  htim2.Init.Prescaler = 0;
  htim2.Init.CounterMode = TIM_COUNTERMODE_UP;
  htim2.Init.Period = 65535;
  htim2.Init.ClockDivision = TIM_CLOCKDIVISION_DIV1;
  htim2.Init.AutoReloadPreload = TIM_AUTORELOAD_PRELOAD_DISABLE;
  sConfig.EncoderMode = TIM_ENCODERMODE_TI2;
  sConfig.IC1Polarity = TIM_ICPOLARITY_RISING;
  sConfig.IC1Selection = TIM_ICSELECTION_DIRECTTI;
  sConfig.IC1Prescaler = TIM_ICPSC_DIV1;
  sConfig.IC1Filter = 4;
  sConfig.IC2Polarity = TIM_ICPOLARITY_RISING;
  sConfig.IC2Selection = TIM_ICSELECTION_DIRECTTI;
  sConfig.IC2Prescaler = TIM_ICPSC_DIV1;
  sConfig.IC2Filter = 4;
  if (HAL_TIM_Encoder_Init(&htim2, &sConfig) != HAL_OK)
  {
    Error_Handler();
  }
  sMasterConfig.MasterOutputTrigger = TIM_TRGO_RESET;
  sMasterConfig.MasterSlaveMode = TIM_MASTERSLAVEMODE_DISABLE;
  if (HAL_TIMEx_MasterConfigSynchronization(&htim2, &sMasterConfig) != HAL_OK)
  {
    Error_Handler();
  }
  /* USER CODE BEGIN TIM2_Init 2 */
  TIM2->CNT = 0;
  TIM2->SR = TIM2->SR & 0xFE; // clear flag
  /* USER CODE END TIM2_Init 2 */

}

static void MX_TIM3_Init(void)
{

  TIM_Encoder_InitTypeDef sConfig = {0};
  TIM_MasterConfigTypeDef sMasterConfig = {0};

  htim3.Instance = TIM3;
  htim3.Init.Prescaler = 0;
  htim3.Init.CounterMode = TIM_COUNTERMODE_UP;
  htim3.Init.Period = 65535;
  htim3.Init.ClockDivision = TIM_CLOCKDIVISION_DIV1;
  htim3.Init.AutoReloadPreload = TIM_AUTORELOAD_PRELOAD_DISABLE;
  sConfig.EncoderMode = TIM_ENCODERMODE_TI2;
  sConfig.IC1Polarity = TIM_ICPOLARITY_RISING;
  sConfig.IC1Selection = TIM_ICSELECTION_DIRECTTI;
  sConfig.IC1Prescaler = TIM_ICPSC_DIV1;
  sConfig.IC1Filter = 4;
  sConfig.IC2Polarity = TIM_ICPOLARITY_RISING;
  sConfig.IC2Selection = TIM_ICSELECTION_DIRECTTI;
  sConfig.IC2Prescaler = TIM_ICPSC_DIV1;
  sConfig.IC2Filter = 4;
  if (HAL_TIM_Encoder_Init(&htim3, &sConfig) != HAL_OK)
  {
    Error_Handler();
  }
  sMasterConfig.MasterOutputTrigger = TIM_TRGO_RESET;
  sMasterConfig.MasterSlaveMode = TIM_MASTERSLAVEMODE_DISABLE;
  if (HAL_TIMEx_MasterConfigSynchronization(&htim3, &sMasterConfig) != HAL_OK)
  {
    Error_Handler();
  }
  /* USER CODE BEGIN TIM3_Init 2 */
  TIM3->CNT = 0;
  TIM3->SR = TIM3->SR & 0xFE; // clear flag
  /* USER CODE END TIM3_Init 2 */

}

static void MX_TIM7_Init(void)
{

  TIM_MasterConfigTypeDef sMasterConfig = {0};

  htim7.Instance = TIM7;
  htim7.Init.Prescaler = 83;
  htim7.Init.CounterMode = TIM_COUNTERMODE_UP;
  htim7.Init.Period = 9999;
  htim7.Init.AutoReloadPreload = TIM_AUTORELOAD_PRELOAD_ENABLE;
  if (HAL_TIM_Base_Init(&htim7) != HAL_OK)
  {
    Error_Handler();
  }
  sMasterConfig.MasterOutputTrigger = TIM_TRGO_RESET;
  sMasterConfig.MasterSlaveMode = TIM_MASTERSLAVEMODE_DISABLE;
  if (HAL_TIMEx_MasterConfigSynchronization(&htim7, &sMasterConfig) != HAL_OK)
  {
    Error_Handler();
  }

}

static void MX_TIM9_Init(void)
{

  TIM_OC_InitTypeDef sConfigOC = {0};

  htim9.Instance = TIM9;
  htim9.Init.Prescaler = 7;
  htim9.Init.CounterMode = TIM_COUNTERMODE_UP;
  htim9.Init.Period = 999;
  htim9.Init.ClockDivision = TIM_CLOCKDIVISION_DIV1;
  htim9.Init.AutoReloadPreload = TIM_AUTORELOAD_PRELOAD_DISABLE;
  if (HAL_TIM_PWM_Init(&htim9) != HAL_OK)
  {
    Error_Handler();
  }
  sConfigOC.OCMode = TIM_OCMODE_PWM1;
  sConfigOC.Pulse = 0;
  sConfigOC.OCPolarity = TIM_OCPOLARITY_HIGH;
  sConfigOC.OCFastMode = TIM_OCFAST_DISABLE;
  if (HAL_TIM_PWM_ConfigChannel(&htim9, &sConfigOC, TIM_CHANNEL_1) != HAL_OK)
  {
    Error_Handler();
  }
  if (HAL_TIM_PWM_ConfigChannel(&htim9, &sConfigOC, TIM_CHANNEL_2) != HAL_OK)
  {
    Error_Handler();
  }
  HAL_TIM_MspPostInit(&htim9);

}

static void MX_TIM10_Init(void)
{

  htim10.Instance = TIM10;
  htim10.Init.Prescaler = 167;
  htim10.Init.CounterMode = TIM_COUNTERMODE_UP;
  htim10.Init.Period = 9999;
  htim10.Init.ClockDivision = TIM_CLOCKDIVISION_DIV1;
  htim10.Init.AutoReloadPreload = TIM_AUTORELOAD_PRELOAD_ENABLE;
  if (HAL_TIM_Base_Init(&htim10) != HAL_OK)
  {
    Error_Handler();
  }

}

static void MX_TIM11_Init(void)
{

  htim11.Instance = TIM11;
  htim11.Init.Prescaler = 167;
  htim11.Init.CounterMode = TIM_COUNTERMODE_UP;
  htim11.Init.Period = 9999;
  htim11.Init.ClockDivision = TIM_CLOCKDIVISION_DIV1;
  htim11.Init.AutoReloadPreload = TIM_AUTORELOAD_PRELOAD_DISABLE;
  if (HAL_TIM_Base_Init(&htim11) != HAL_OK)
  {
    Error_Handler();
  }

}

static void MX_TIM12_Init(void)
{

  TIM_OC_InitTypeDef sConfigOC = {0};

  htim12.Instance = TIM12;
  htim12.Init.Prescaler = 3;
  htim12.Init.CounterMode = TIM_COUNTERMODE_UP;
  htim12.Init.Period = 999;
  htim12.Init.ClockDivision = TIM_CLOCKDIVISION_DIV1;
  htim12.Init.AutoReloadPreload = TIM_AUTORELOAD_PRELOAD_DISABLE;
  if (HAL_TIM_PWM_Init(&htim12) != HAL_OK)
  {
    Error_Handler();
  }
  sConfigOC.OCMode = TIM_OCMODE_PWM1;
  sConfigOC.Pulse = 0;
  sConfigOC.OCPolarity = TIM_OCPOLARITY_HIGH;
  sConfigOC.OCFastMode = TIM_OCFAST_DISABLE;
  if (HAL_TIM_PWM_ConfigChannel(&htim12, &sConfigOC, TIM_CHANNEL_1) != HAL_OK)
  {
    Error_Handler();
  }
  if (HAL_TIM_PWM_ConfigChannel(&htim12, &sConfigOC, TIM_CHANNEL_2) != HAL_OK)
  {
    Error_Handler();
  }
  HAL_TIM_MspPostInit(&htim12);

}

static void MX_TIM13_Init(void)
{

  htim13.Instance = TIM13;
  htim13.Init.Prescaler = 83;
  htim13.Init.CounterMode = TIM_COUNTERMODE_UP;
  htim13.Init.Period = 9999;
  htim13.Init.ClockDivision = TIM_CLOCKDIVISION_DIV1;
  htim13.Init.AutoReloadPreload = TIM_AUTORELOAD_PRELOAD_DISABLE;
  if (HAL_TIM_Base_Init(&htim13) != HAL_OK)
  {
    Error_Handler();
  }

}

static void MX_TIM14_Init(void)
{

  htim14.Instance = TIM14;
  htim14.Init.Prescaler = 83;
  htim14.Init.CounterMode = TIM_COUNTERMODE_UP;
  htim14.Init.Period = 9999;
  htim14.Init.ClockDivision = TIM_CLOCKDIVISION_DIV1;
  htim14.Init.AutoReloadPreload = TIM_AUTORELOAD_PRELOAD_DISABLE;
  if (HAL_TIM_Base_Init(&htim14) != HAL_OK)
  {
    Error_Handler();
  }

}

static void MX_UART4_Init(void)
{

  huart4.Instance = UART4;
  huart4.Init.BaudRate = 115200;
  huart4.Init.WordLength = UART_WORDLENGTH_8B;
  huart4.Init.StopBits = UART_STOPBITS_1;
  huart4.Init.Parity = UART_PARITY_NONE;
  huart4.Init.Mode = UART_MODE_TX_RX;
  huart4.Init.HwFlowCtl = UART_HWCONTROL_NONE;
  huart4.Init.OverSampling = UART_OVERSAMPLING_16;
  if (HAL_UART_Init(&huart4) != HAL_OK)
  {
    Error_Handler();
  }

}

static void MX_UART5_Init(void)
{

  huart5.Instance = UART5;
  huart5.Init.BaudRate = 115200;
  huart5.Init.WordLength = UART_WORDLENGTH_8B;
  huart5.Init.StopBits = UART_STOPBITS_1;
  huart5.Init.Parity = UART_PARITY_NONE;
  huart5.Init.Mode = UART_MODE_TX_RX;
  huart5.Init.HwFlowCtl = UART_HWCONTROL_NONE;
  huart5.Init.OverSampling = UART_OVERSAMPLING_16;
  if (HAL_UART_Init(&huart5) != HAL_OK)
  {
    Error_Handler();
  }

}

static void MX_USART1_UART_Init(void)
{

  huart1.Instance = USART1;
  huart1.Init.BaudRate = 115200;
  huart1.Init.WordLength = UART_WORDLENGTH_8B;
  huart1.Init.StopBits = UART_STOPBITS_1;
  huart1.Init.Parity = UART_PARITY_NONE;
  huart1.Init.Mode = UART_MODE_TX_RX;
  huart1.Init.HwFlowCtl = UART_HWCONTROL_NONE;
  huart1.Init.OverSampling = UART_OVERSAMPLING_16;
  if (HAL_UART_Init(&huart1) != HAL_OK)
  {
    Error_Handler();
  }

}

static void MX_DMA_Init(void)
{

  /* DMA controller clock enable */
  __HAL_RCC_DMA2_CLK_ENABLE();
  __HAL_RCC_DMA1_CLK_ENABLE();

  /* DMA interrupt init */
  /* DMA1_Stream0_IRQn interrupt configuration */
  HAL_NVIC_SetPriority(DMA1_Stream0_IRQn, 6, 0);
  HAL_NVIC_EnableIRQ(DMA1_Stream0_IRQn);
  /* DMA1_Stream2_IRQn interrupt configuration */
  HAL_NVIC_SetPriority(DMA1_Stream2_IRQn, 6, 0);
  HAL_NVIC_EnableIRQ(DMA1_Stream2_IRQn);
  /* DMA1_Stream4_IRQn interrupt configuration */
  HAL_NVIC_SetPriority(DMA1_Stream4_IRQn, 6, 0);
  HAL_NVIC_EnableIRQ(DMA1_Stream4_IRQn);
  /* DMA1_Stream7_IRQn interrupt configuration */
  HAL_NVIC_SetPriority(DMA1_Stream7_IRQn, 6, 0);
  HAL_NVIC_EnableIRQ(DMA1_Stream7_IRQn);
  /* DMA2_Stream0_IRQn interrupt configuration */
  HAL_NVIC_SetPriority(DMA2_Stream0_IRQn, 5, 0);
  HAL_NVIC_EnableIRQ(DMA2_Stream0_IRQn);

}

static void MX_GPIO_Init(void)
{
  GPIO_InitTypeDef GPIO_InitStruct = {0};

  /* GPIO Ports Clock Enable */
  __HAL_RCC_GPIOC_CLK_ENABLE();
  __HAL_RCC_GPIOH_CLK_ENABLE();
  __HAL_RCC_GPIOA_CLK_ENABLE();
  __HAL_RCC_GPIOB_CLK_ENABLE();
  __HAL_RCC_GPIOD_CLK_ENABLE();

  /*Configure GPIO pin Output Level */
  HAL_GPIO_WritePin(GPIOC, GPIO_PIN_8, GPIO_PIN_RESET);

  /*Configure GPIO pin : PC13 */
  GPIO_InitStruct.Pin = GPIO_PIN_13;
  GPIO_InitStruct.Mode = GPIO_MODE_INPUT;
  GPIO_InitStruct.Pull = GPIO_NOPULL;
  HAL_GPIO_Init(GPIOC, &GPIO_InitStruct);

  /*Configure GPIO pin : PC8 */
  GPIO_InitStruct.Pin = GPIO_PIN_8;
  GPIO_InitStruct.Mode = GPIO_MODE_OUTPUT_PP;
  GPIO_InitStruct.Pull = GPIO_NOPULL;
  GPIO_InitStruct.Speed = GPIO_SPEED_FREQ_HIGH;
  HAL_GPIO_Init(GPIOC, &GPIO_InitStruct);

}

/* USER CODE BEGIN 4 */
void OnTimerCallback(TIM_TypeDef *timInstance);
/* USER CODE END 4 */

void StartDefaultTask(void *argument)
{
  /* init code for USB_DEVICE */
  MX_USB_DEVICE_Init();
  /* USER CODE BEGIN 5 */
  MX_USB_DEVICE_Init();

  // Invoke cpp-version main().
  Main();

  /* Infinite loop */
  for(;;)
  {
    osDelay(1);
  }
  /* USER CODE END 5 */
}

void HAL_TIM_PeriodElapsedCallback(TIM_HandleTypeDef *htim)
{
  if (htim->Instance == TIM6) {
    HAL_IncTick();
  }
  /* USER CODE BEGIN Callback 1 */
  else
  {
      OnTimerCallback(htim->Instance);
  }
  /* USER CODE END Callback 1 */
}

void Error_Handler(void)
{
  __disable_irq();
  while (1)
  {
  }
}
